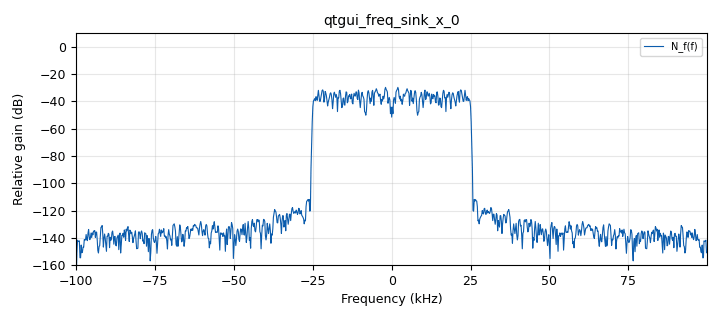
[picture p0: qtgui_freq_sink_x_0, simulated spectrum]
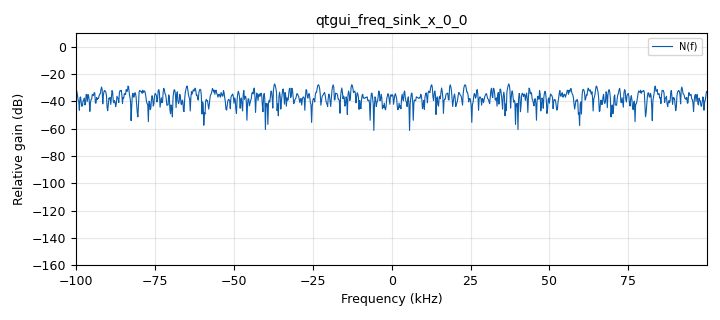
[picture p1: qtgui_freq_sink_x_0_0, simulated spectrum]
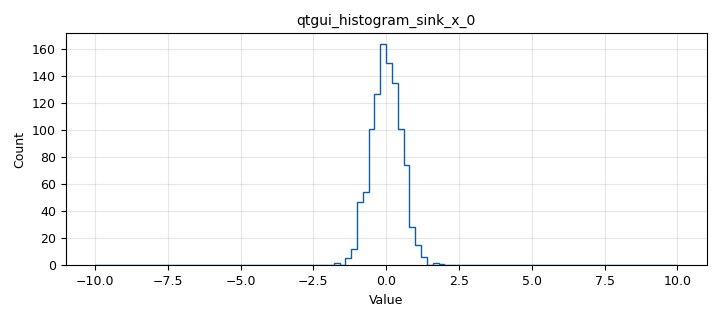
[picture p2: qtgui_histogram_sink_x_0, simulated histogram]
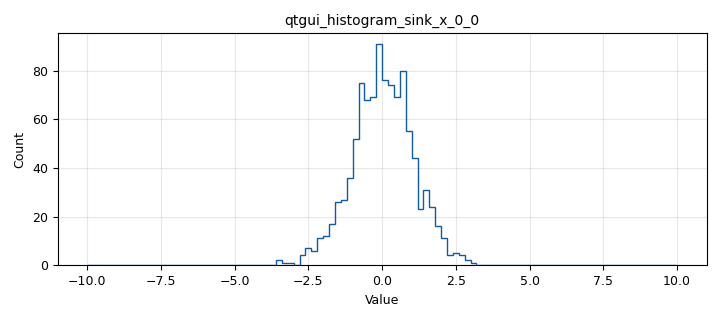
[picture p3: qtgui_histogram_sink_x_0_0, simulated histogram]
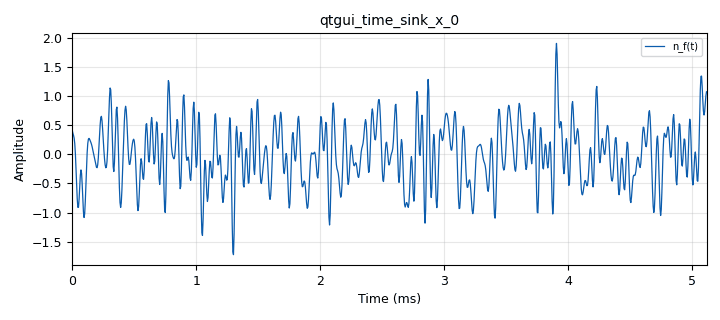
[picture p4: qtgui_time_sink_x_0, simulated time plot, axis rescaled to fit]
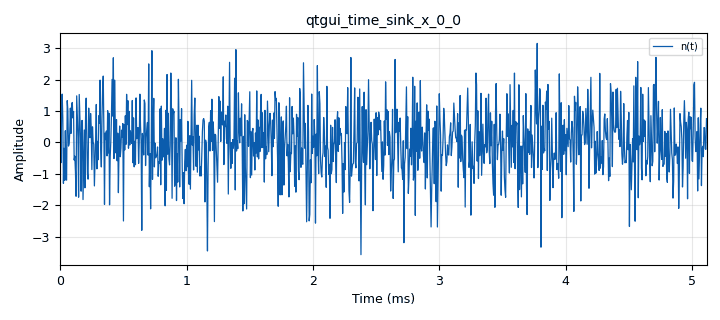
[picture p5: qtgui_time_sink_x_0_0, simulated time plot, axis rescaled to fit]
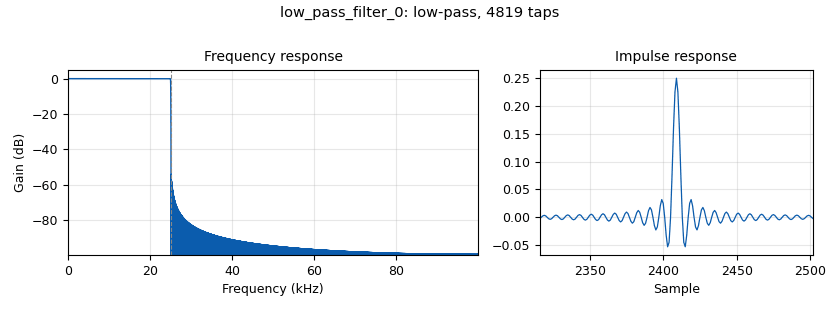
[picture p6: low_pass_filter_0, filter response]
<?xml version='1.0' encoding='utf-8'?>
<?grc format='1' created='3.7.9'?>
<flow_graph>
<block>
<key>options</key>
<param><key>id</key><value>top_block</value></param>
<param><key>category</key><value>Custom</value></param>
<param><key>generate_options</key><value>qt_gui</value></param>
</block>
<block>
<key>variable_qtgui_range</key>
<param><key>id</key><value>An</value></param>
<param><key>value</key><value>1</value></param>
<param><key>orient</key><value>Qt.Horizontal</value></param>
<param><key>start</key><value>0</value></param>
<param><key>step</key><value>0.2</value></param>
<param><key>stop</key><value>5</value></param>
</block>
<block>
<key>variable_qtgui_range</key>
<param><key>id</key><value>R</value></param>
<param><key>value</key><value>.25</value></param>
<param><key>orient</key><value>Qt.Horizontal</value></param>
<param><key>start</key><value>0</value></param>
<param><key>step</key><value>0.05</value></param>
<param><key>stop</key><value>1</value></param>
</block>
<block>
<key>variable</key>
<param><key>id</key><value>fcut</value></param>
<param><key>value</key><value>R*samp_rate/2</value></param>
</block>
<block>
<key>variable</key>
<param><key>id</key><value>samp_rate</value></param>
<param><key>value</key><value>200000</value></param>
</block>
<block>
<key>analog_noise_source_x</key>
<param><key>id</key><value>analog_noise_source_x_0</value></param>
<param><key>amp</key><value>An</value></param>
<param><key>noise_type</key><value>analog.GR_GAUSSIAN</value></param>
<param><key>type</key><value>float</value></param>
<param><key>seed</key><value>0</value></param>
</block>
<block>
<key>blocks_rms_xx</key>
<param><key>id</key><value>blocks_rms_xx_0</value></param>
<param><key>alpha</key><value>0.0001</value></param>
<param><key>type</key><value>float</value></param>
</block>
<block>
<key>blocks_rms_xx</key>
<param><key>id</key><value>blocks_rms_xx_0_0</value></param>
<param><key>alpha</key><value>0.0001</value></param>
<param><key>type</key><value>float</value></param>
</block>
<block>
<key>low_pass_filter</key>
<param><key>id</key><value>low_pass_filter_0</value></param>
<param><key>cutoff_freq</key><value>fcut</value></param>
<param><key>decim</key><value>1</value></param>
<param><key>type</key><value>fir_filter_fff</value></param>
<param><key>gain</key><value>1</value></param>
<param><key>samp_rate</key><value>samp_rate</value></param>
<param><key>width</key><value>100</value></param>
<param><key>win</key><value>firdes.WIN_HAMMING</value></param>
</block>
<block>
<key>qtgui_freq_sink_x</key>
<param><key>id</key><value>qtgui_freq_sink_x_0</value></param>
<param><key>bw</key><value>samp_rate</value></param>
<param><key>fc</key><value>0</value></param>
<param><key>ctrlpanel</key><value>True</value></param>
<param><key>fftsize</key><value>1024</value></param>
<param><key>gui_hint</key><value>1,1</value></param>
<param><key>color1</key><value>"red"</value></param>
<param><key>label1</key><value>N_f(f)</value></param>
<param><key>showports</key><value>True</value></param>
<param><key>type</key><value>float</value></param>
<param><key>wintype</key><value>firdes.WIN_BLACKMAN_hARRIS</value></param>
<param><key>ymin</key><value>-160</value></param>
</block>
<block>
<key>qtgui_freq_sink_x</key>
<param><key>id</key><value>qtgui_freq_sink_x_0_0</value></param>
<param><key>bw</key><value>samp_rate</value></param>
<param><key>fc</key><value>0</value></param>
<param><key>ctrlpanel</key><value>True</value></param>
<param><key>fftsize</key><value>1024</value></param>
<param><key>gui_hint</key><value>0,1</value></param>
<param><key>label1</key><value>N(f)</value></param>
<param><key>showports</key><value>True</value></param>
<param><key>type</key><value>float</value></param>
<param><key>wintype</key><value>firdes.WIN_BLACKMAN_hARRIS</value></param>
<param><key>ymin</key><value>-160</value></param>
</block>
<block>
<key>qtgui_histogram_sink_x</key>
<param><key>id</key><value>qtgui_histogram_sink_x_0</value></param>
<param><key>autoscale</key><value>False</value></param>
<param><key>gui_hint</key><value>1,0</value></param>
<param><key>color1</key><value>"red"</value></param>
<param><key>label1</key><value>n_f(t)</value></param>
<param><key>xmax</key><value>10</value></param>
<param><key>xmin</key><value>-10</value></param>
<param><key>bins</key><value>100</value></param>
<param><key>size</key><value>1024</value></param>
<param><key>type</key><value>float</value></param>
</block>
<block>
<key>qtgui_histogram_sink_x</key>
<param><key>id</key><value>qtgui_histogram_sink_x_0_0</value></param>
<param><key>autoscale</key><value>False</value></param>
<param><key>gui_hint</key><value>0,0</value></param>
<param><key>label1</key><value>n(t)</value></param>
<param><key>xmax</key><value>10</value></param>
<param><key>xmin</key><value>-10</value></param>
<param><key>bins</key><value>100</value></param>
<param><key>size</key><value>1024</value></param>
<param><key>type</key><value>float</value></param>
</block>
<block>
<key>qtgui_number_sink</key>
<param><key>id</key><value>qtgui_number_sink_0</value></param>
<param><key>gui_hint</key><value>1,3</value></param>
<param><key>graph_type</key><value>qtgui.NUM_GRAPH_VERT</value></param>
<param><key>type</key><value>float</value></param>
<param><key>color1</key><value>("blue", "red")</value></param>
<param><key>label1</key><value>RMS filtered</value></param>
</block>
<block>
<key>qtgui_number_sink</key>
<param><key>id</key><value>qtgui_number_sink_0_0</value></param>
<param><key>gui_hint</key><value>0,3</value></param>
<param><key>graph_type</key><value>qtgui.NUM_GRAPH_VERT</value></param>
<param><key>type</key><value>float</value></param>
<param><key>label1</key><value>RMS noise</value></param>
</block>
<block>
<key>qtgui_time_sink_x</key>
<param><key>id</key><value>qtgui_time_sink_x_0</value></param>
<param><key>ctrlpanel</key><value>True</value></param>
<param><key>gui_hint</key><value>1,2</value></param>
<param><key>color1</key><value>"red"</value></param>
<param><key>label1</key><value>n_f(t)</value></param>
<param><key>size</key><value>1024</value></param>
<param><key>srate</key><value>samp_rate</value></param>
<param><key>type</key><value>float</value></param>
</block>
<block>
<key>qtgui_time_sink_x</key>
<param><key>id</key><value>qtgui_time_sink_x_0_0</value></param>
<param><key>ctrlpanel</key><value>True</value></param>
<param><key>gui_hint</key><value>0,2</value></param>
<param><key>color1</key><value>"blue"</value></param>
<param><key>label1</key><value>n(t)</value></param>
<param><key>size</key><value>1024</value></param>
<param><key>srate</key><value>samp_rate</value></param>
<param><key>type</key><value>float</value></param>
</block>
<connection><source_block_id>analog_noise_source_x_0</source_block_id><sink_block_id>blocks_rms_xx_0_0</sink_block_id><source_key>0</source_key><sink_key>0</sink_key></connection>
<connection><source_block_id>analog_noise_source_x_0</source_block_id><sink_block_id>low_pass_filter_0</sink_block_id><source_key>0</source_key><sink_key>0</sink_key></connection>
<connection><source_block_id>analog_noise_source_x_0</source_block_id><sink_block_id>qtgui_freq_sink_x_0_0</sink_block_id><source_key>0</source_key><sink_key>0</sink_key></connection>
<connection><source_block_id>analog_noise_source_x_0</source_block_id><sink_block_id>qtgui_histogram_sink_x_0_0</sink_block_id><source_key>0</source_key><sink_key>0</sink_key></connection>
<connection><source_block_id>analog_noise_source_x_0</source_block_id><sink_block_id>qtgui_time_sink_x_0_0</sink_block_id><source_key>0</source_key><sink_key>0</sink_key></connection>
<connection><source_block_id>blocks_rms_xx_0</source_block_id><sink_block_id>qtgui_number_sink_0</sink_block_id><source_key>0</source_key><sink_key>0</sink_key></connection>
<connection><source_block_id>blocks_rms_xx_0_0</source_block_id><sink_block_id>qtgui_number_sink_0_0</sink_block_id><source_key>0</source_key><sink_key>0</sink_key></connection>
<connection><source_block_id>low_pass_filter_0</source_block_id><sink_block_id>blocks_rms_xx_0</sink_block_id><source_key>0</source_key><sink_key>0</sink_key></connection>
<connection><source_block_id>low_pass_filter_0</source_block_id><sink_block_id>qtgui_freq_sink_x_0</sink_block_id><source_key>0</source_key><sink_key>0</sink_key></connection>
<connection><source_block_id>low_pass_filter_0</source_block_id><sink_block_id>qtgui_histogram_sink_x_0</sink_block_id><source_key>0</source_key><sink_key>0</sink_key></connection>
<connection><source_block_id>low_pass_filter_0</source_block_id><sink_block_id>qtgui_time_sink_x_0</sink_block_id><source_key>0</source_key><sink_key>0</sink_key></connection>
</flow_graph>
